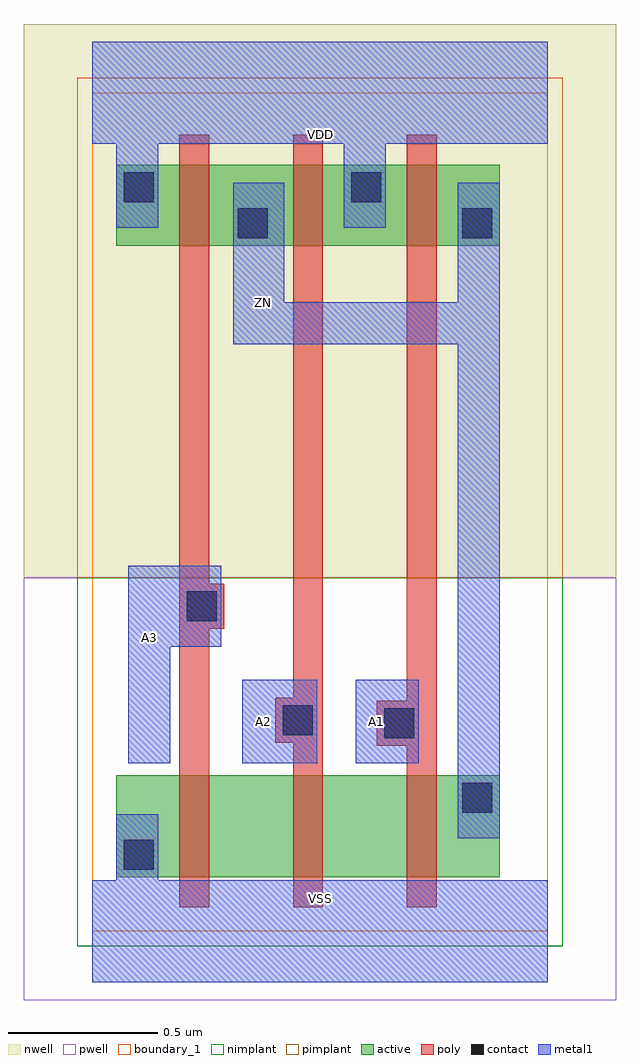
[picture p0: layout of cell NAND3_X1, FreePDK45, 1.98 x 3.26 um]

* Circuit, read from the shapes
.subckt NAND3_X1 A1 A2 A3 VDD VSS ZN
M1 n1 A3 VSS VSUBS nfet w=0.34u l=0.1u
M2 n2 A2 n1 VSUBS nfet w=0.34u l=0.1u
M3 ZN A1 n2 VSUBS nfet w=0.34u l=0.1u
M4 ZN A3 VDD n3 pfet w=0.27u l=0.1u
M5 VDD A2 ZN n3 pfet w=0.27u l=0.1u
M6 ZN A1 VDD n3 pfet w=0.27u l=0.1u
.ends

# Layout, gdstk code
import gdstk
lib = gdstk.Library(unit=1e-6, precision=1e-09)
def R(c, l, rs):  # rectangles x0, y0, x1, y1
    for r in rs: c.add(gdstk.rectangle(r[:2], r[2:], *l))
def P(c, l, *ps):  # polygons
    for p in ps: c.add(gdstk.Polygon(p, *l))
active = (1, 0)
pwell = (2, 0)
nwell = (3, 0)
nimplant = (4, 0)
pimplant = (5, 0)
poly = (9, 0)
contact = (10, 0)
metal1 = (11, 0)
boundary_1 = (235, 1)

nand3_x1 = lib.new_cell('NAND3_X1')
R(nand3_x1, active, [(0.08,0.18,1.36,0.52), (0.08,2.29,1.36,2.56)])
R(nand3_x1, pwell, [(-0.23,-0.23,1.75,1.18)])
R(nand3_x1, nwell, [(-0.23,1.18,1.75,3.03)])
R(nand3_x1, nimplant, [(-0.05,-0.05,1.57,1.18)])
R(nand3_x1, pimplant, [(-0.05,1.18,1.57,2.85)])
P(nand3_x1, poly, [(0.95,0.62),(1.05,0.62),(1.05,0.08),(1.15,0.08),(1.15,2.66),(1.05,2.66),(1.05,0.77),(0.95,0.77)],
  [(0.61,0.63),(0.67,0.63),(0.67,0.08),(0.77,0.08),(0.77,2.66),(0.67,2.66),(0.67,0.78),(0.61,0.78)],
  [(0.29,0.08),(0.39,0.08),(0.39,1.01),(0.44,1.01),(0.44,1.16),(0.39,1.16),(0.39,2.66),(0.29,2.66)])
R(nand3_x1, contact, [(0.105,0.205,0.205,0.305), (1.235,0.395,1.335,0.495), (0.975,0.645,1.075,0.745), (0.635,0.655,0.735,0.755), (0.315,1.035,0.415,1.135), (0.485,2.315,0.585,2.415), (1.235,2.315,1.335,2.415), (0.105,2.435,0.205,2.535), (0.865,2.435,0.965,2.535)])
R(nand3_x1, metal1, [(0.5,0.56,0.75,0.84), (0.5,0.56,0.75,0.84), (0.88,0.56,1.09,0.84), (0.88,0.56,1.09,0.84)])
P(nand3_x1, metal1, [(0.47,1.96),(1.22,1.96),(1.22,0.31),(1.36,0.31),(1.36,2.5),(1.22,2.5),(1.22,2.1),(0.64,2.1),(0.64,2.5),(0.47,2.5)],
  [(0,-0.17),(1.52,-0.17),(1.52,0.17),(0.22,0.17),(0.22,0.39),(0.08,0.39),(0.08,0.17),(0,0.17)],
  [(0.12,0.56),(0.26,0.56),(0.26,0.95),(0.43,0.95),(0.43,1.22),(0.12,1.22)],
  [(0,2.63),(0.08,2.63),(0.08,2.35),(0.22,2.35),(0.22,2.63),(0.84,2.63),(0.84,2.35),(0.98,2.35),(0.98,2.63),(1.52,2.63),(1.52,2.97),(0,2.97)],
  [(0,2.63),(0.08,2.63),(0.08,2.35),(0.22,2.35),(0.22,2.63),(0.84,2.63),(0.84,2.35),(0.98,2.35),(0.98,2.63),(1.52,2.63),(1.52,2.97),(0,2.97)],
  [(0,-0.17),(1.52,-0.17),(1.52,0.17),(0.22,0.17),(0.22,0.39),(0.08,0.39),(0.08,0.17),(0,0.17)],
  [(0.47,1.96),(1.22,1.96),(1.22,0.31),(1.36,0.31),(1.36,2.5),(1.22,2.5),(1.22,2.1),(0.64,2.1),(0.64,2.5),(0.47,2.5)],
  [(0.12,0.56),(0.26,0.56),(0.26,0.95),(0.43,0.95),(0.43,1.22),(0.12,1.22)])
R(nand3_x1, boundary_1, [(0,0,1.52,2.8)])
nand3_x1.add(gdstk.Label('ZN', (0.57,2.1), layer=11, texttype=0))
nand3_x1.add(gdstk.Label('VSS', (0.76,0.11), layer=11, texttype=0))
nand3_x1.add(gdstk.Label('VDD', (0.76,2.66), layer=11, texttype=0))
nand3_x1.add(gdstk.Label('A3', (0.19,0.98), layer=11, texttype=0))
nand3_x1.add(gdstk.Label('A2', (0.57,0.7), layer=11, texttype=0))
nand3_x1.add(gdstk.Label('A1', (0.95,0.7), layer=11, texttype=0))

lib.write_gds('NAND3_X1.gds')
